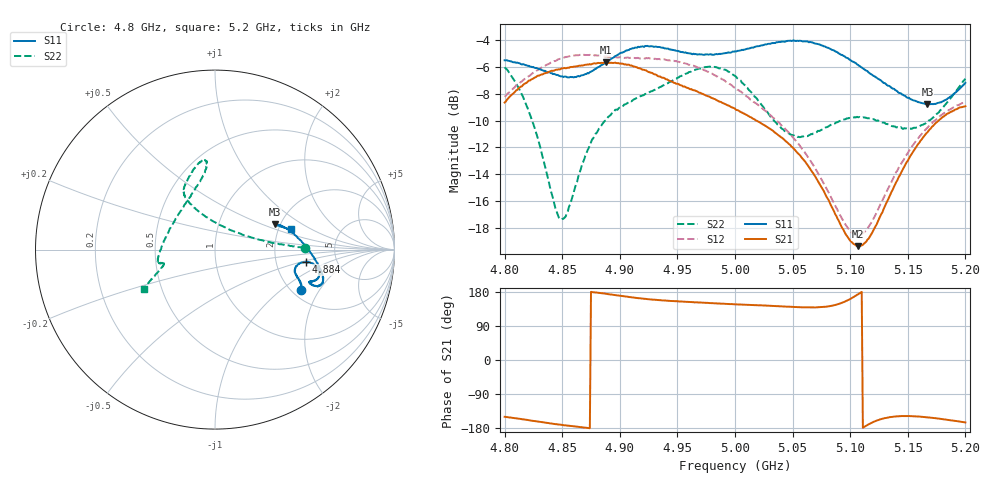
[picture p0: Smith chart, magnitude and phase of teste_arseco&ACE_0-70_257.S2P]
! Network Analyzer HP8722D
! Hewlett-Packard
! Data name: Linha & Wilkinson
! Saver's name: Rodrigo Anjos
! Comments: Teste da utilização de aquisição
! continua pelo VNA HP8722D
! Time and date: 8/5/2025 14:54
!  Frequency  S11  S21  S12  S22
# HZ  S  MA R 50
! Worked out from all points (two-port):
!   401 points, 4.8 GHz to 5.2 GHz, reference 50 ohm
!   highest |S21| = -5.66 dB at 4.888 GHz (marker M1); lowest = -19.4 dB at 5.107 GHz (marker M2)
!   |S21| within 3 dB of the highest: start of sweep to 4.989 GHz
!   lowest |S11| = -8.8 dB at 5.167 GHz (marker M3), VSWR 2.14, Z = 94 + j30.5 ohm
!   |S11| at or under -10 dB: nowhere
!   |S22| runs from -17.4 to -6.0 dB; largest |S21 - S12| = 1.1
!   S11 on the Smith chart (normalised r, x): 4.8 GHz: 2.23, -1.41; 4.884 GHz: 2.96, -0.55; 5.2 GHz: 2.34, +0.65
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4.8e9  0.5306 -25.2  0.3692 -149.8  0.3879 9.5  0.4992 1.1
4.821e9  0.5058 -20.5  0.4457 -158.9  0.4632 6.4  0.3426 5.9
4.848e9  0.4637 -16.0  0.4905 -170.5  0.5371 2.1  0.1367 57.2
4.854e9  0.4591 -14.6  0.4964 -173.0  0.546 1.3  0.1432 81.9
4.867e9  0.4664 -10.8  0.5073 -177.6  0.5536 -0.7  0.2149 110.7
4.884e9  0.509 -7.7  0.5191 176.3  0.5512 -1.9  0.303 118.6
4.888e9  0.5229 -8.0  0.5209 174.6  0.5479 -1.9  0.3171 119.5
4.911e9  0.5882 -10.9  0.505 165.2  0.5427 -1.4  0.376 117.4
4.934e9  0.5948 -16.0  0.4619 158.0  0.5367 -2.3  0.4193 111.2
4.975e9  0.5578 -19.1  0.3918 150.8  0.4844 -5.9  0.5008 98.3
5e9  0.5732 -20.0  0.3503 147.0  0.4202 -5.9  0.464 96.1
5.018e9  0.5965 -19.8  0.3168 145.0  0.3668 -3.2  0.3857 103.0
5.043e9  0.6218 -18.1  0.2676 141.2  0.2966 2.1  0.2893 130.1
5.067e9  0.6179 -13.7  0.2037 138.8  0.2192 9.1  0.2815 164.8
5.095e9  0.5494 -4.1  0.1218 153.5  0.1317 33.7  0.3196 -172.2
5.107e9  0.5089 1.7  0.1077 173.7  0.1181 56.4  0.3252 -168.2
5.117e9  0.4741 6.9  0.1169 -168.3  0.1292 76.2  0.3211 -166.5
5.134e9  0.4259 15.1  0.1647 -151.0  0.1801 94.5  0.3052 -166.0
5.152e9  0.3809 21.2  0.2327 -148.0  0.2467 100.6  0.2951 -164.3
5.167e9  0.3635 22.8  0.2858 -151.2  0.298 101.5  0.3124 -161.4
5.182e9  0.3766 20.7  0.3301 -156.8  0.3381 101.6  0.3598 -157.1
5.2e9  0.4373 14.8  0.3578 -164.7  0.3708 102.0  0.4529 -151.0
